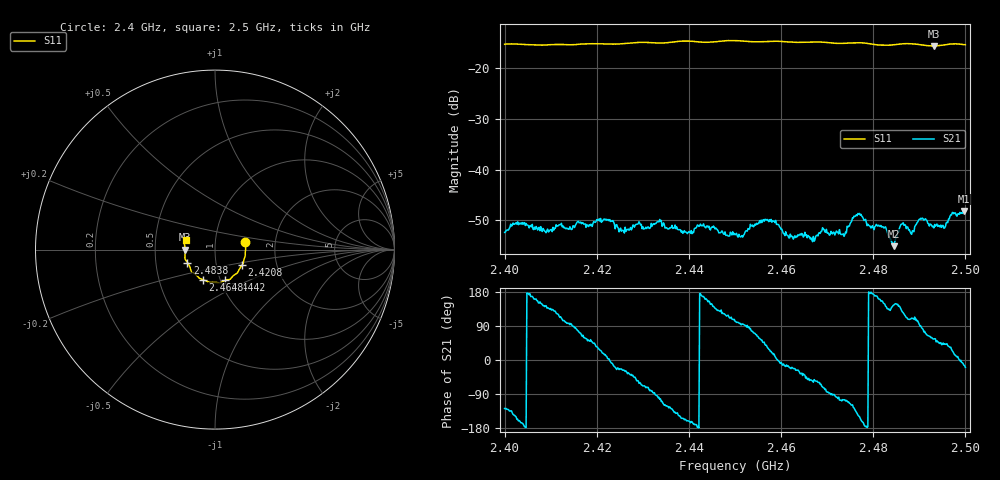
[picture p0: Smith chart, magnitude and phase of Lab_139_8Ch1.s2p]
# Hz S RI R 50
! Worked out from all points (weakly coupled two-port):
!   601 points, 2.4 GHz to 2.5 GHz, reference 50 ohm
!   highest |S21| = -48.18 dB at 2.4997 GHz (marker M1); lowest = -55.1 dB at 2.4845 GHz (marker M2)
!   lowest |S11| = -15.6 dB at 2.4932 GHz (marker M3), VSWR 1.40, Z = 35.8 - j0.0666 ohm
!   |S11| at or under -10 dB: start of sweep to end of sweep
!   S12 and S22 are empty: the file has one direction only
!   S11 on the Smith chart (normalised r, x): 2.4 GHz: 1.40, +0.12; 2.4208 GHz: 1.33, -0.24; 2.4442 GHz: 1.05, -0.37; 2.4648 GHz: 0.83, -0.28; 2.4838 GHz: 0.73, -0.11; 2.5 GHz: 0.72, +0.08
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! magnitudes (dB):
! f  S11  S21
! 2.4 GHz  -15.3  -52.4
! 2.4023 GHz  -15.2  -50.6
! 2.4092 GHz  -15.4  -52.0
! 2.4167 GHz  -15.2  -50.7
! 2.4208 GHz  -15.2  -49.6
! 2.4258 GHz  -15.1  -52.1
! 2.4333 GHz  -15.0  -50.2
! 2.4392 GHz  -14.6  -52.3
! 2.4442 GHz  -14.9  -51.4
! 2.45 GHz  -14.5  -52.9
! 2.4567 GHz  -14.7  -49.8
! 2.4648 GHz  -14.9  -53.3
! 2.4667 GHz  -14.8  -53.8
! 2.4737 GHz  -15.1  -53.2
! 2.4768 GHz  -15.0  -48.7
! 2.4833 GHz  -15.5  -53.2
! 2.4838 GHz  -15.4  -53.7
! 2.4845 GHz  -15.4  -55.1
! 2.4863 GHz  -15.2  -50.7
! 2.4932 GHz  -15.6  -51.5
! 2.4997 GHz  -15.3  -48.2
! 2.5 GHz  -15.4  -48.3
